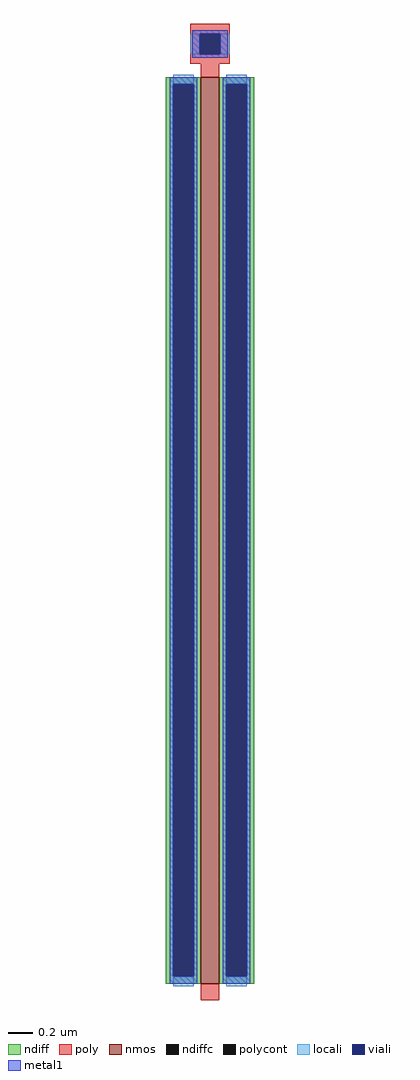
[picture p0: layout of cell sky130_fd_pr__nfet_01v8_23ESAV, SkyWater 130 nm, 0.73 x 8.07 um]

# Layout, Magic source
magic
tech sky130A
magscale 1 2
<< nmos >>
rect -15 -750 15 750
<< ndiff >>
rect -73 738 -15 750
rect -73 -738 -61 738
rect -27 -738 -15 738
rect -73 -750 -15 -738
rect 15 738 73 750
rect 15 -738 27 738
rect 61 -738 73 738
rect 15 -750 73 -738
<< ndiffc >>
rect -61 -738 -27 738
rect 27 -738 61 738
<< poly >>
rect -33 822 33 838
rect -33 788 -17 822
rect 17 788 33 822
rect -33 772 33 788
rect -15 750 15 772
rect -15 -777 15 -750
<< polycont >>
rect -17 788 17 822
<< locali >>
rect -33 788 -17 822
rect 17 788 33 822
rect -61 738 -27 754
rect -61 -754 -27 -738
rect 27 738 61 754
rect 27 -754 61 -738
<< viali >>
rect -17 788 17 822
rect -61 -738 -27 738
rect 27 -738 61 738
<< metal1 >>
rect -29 822 29 828
rect -29 788 -17 822
rect 17 788 29 822
rect -29 782 29 788
rect -67 738 -21 750
rect -67 -738 -61 738
rect -27 -738 -21 738
rect -67 -750 -21 -738
rect 21 738 67 750
rect 21 -738 27 738
rect 61 -738 67 738
rect 21 -750 67 -738
<< properties >>
string gencell sky130_fd_pr__nfet_01v8
string library sky130
string parameters w 7.5 l 0.15 m 1 nf 1 diffcov 100 polycov 100 guard 0 glc 1 grc 1 gtc 1 gbc 1 tbcov 100 rlcov 100 topc 1 botc 1 poverlap 0 doverlap 1 lmin 0.15 wmin 0.42 compatible {sky130_fd_pr__nfet_01v8 sky130_fd_pr__nfet_01v8_lvt  sky130_fd_bs_flash__special_sonosfet_star  sky130_fd_pr__nfet_g5v0d10v5 sky130_fd_pr__nfet_05v0_nvt  sky130_fd_pr__nfet_03v3_nvt} full_metal 1 viasrc 100 viadrn 100 viagate 100 viagb 0 viagr 0 viagl 0 viagt 0
<< end >>
